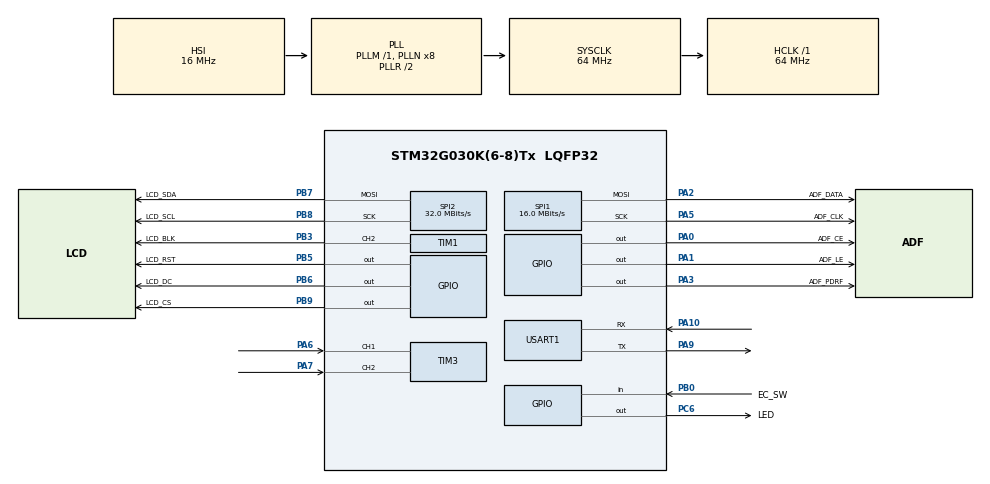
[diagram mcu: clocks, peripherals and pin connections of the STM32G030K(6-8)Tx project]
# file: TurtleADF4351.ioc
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Dma.Request0=SPI2_TX
Dma.Request1=SPI1_TX
Dma.SPI1_TX.1.Direction=DMA_MEMORY_TO_PERIPH
Dma.SPI1_TX.1.EventEnable=DISABLE
Dma.SPI1_TX.1.Instance=DMA1_Channel2
Dma.SPI1_TX.1.MemDataAlignment=DMA_MDATAALIGN_BYTE
Dma.SPI1_TX.1.MemInc=DMA_MINC_ENABLE
Dma.SPI1_TX.1.Mode=DMA_NORMAL
Dma.SPI1_TX.1.PeriphDataAlignment=DMA_PDATAALIGN_BYTE
Dma.SPI1_TX.1.PeriphInc=DMA_PINC_DISABLE
Dma.SPI1_TX.1.Polarity=HAL_DMAMUX_REQ_GEN_RISING
Dma.SPI1_TX.1.Priority=DMA_PRIORITY_LOW
Dma.SPI1_TX.1.RequestNumber=1
Dma.SPI1_TX.1.SignalID=NONE
Dma.SPI1_TX.1.SyncEnable=DISABLE
Dma.SPI1_TX.1.SyncPolarity=HAL_DMAMUX_SYNC_NO_EVENT
Dma.SPI1_TX.1.SyncRequestNumber=1
Dma.SPI1_TX.1.SyncSignalID=NONE
Dma.SPI2_TX.0.Direction=DMA_MEMORY_TO_PERIPH
Dma.SPI2_TX.0.EventEnable=DISABLE
Dma.SPI2_TX.0.Instance=DMA1_Channel1
Dma.SPI2_TX.0.MemDataAlignment=DMA_MDATAALIGN_BYTE
Dma.SPI2_TX.0.MemInc=DMA_MINC_ENABLE
Dma.SPI2_TX.0.Mode=DMA_NORMAL
Dma.SPI2_TX.0.PeriphDataAlignment=DMA_PDATAALIGN_BYTE
Dma.SPI2_TX.0.PeriphInc=DMA_PINC_DISABLE
Dma.SPI2_TX.0.Polarity=HAL_DMAMUX_REQ_GEN_RISING
Dma.SPI2_TX.0.Priority=DMA_PRIORITY_LOW
Dma.SPI2_TX.0.RequestNumber=1
Dma.SPI2_TX.0.SignalID=NONE
Dma.SPI2_TX.0.SyncEnable=DISABLE
Dma.SPI2_TX.0.SyncPolarity=HAL_DMAMUX_SYNC_NO_EVENT
Dma.SPI2_TX.0.SyncRequestNumber=1
Dma.SPI2_TX.0.SyncSignalID=NONE
Mcu.Family=STM32G0
Mcu.Name=STM32G030K(6-8)Tx
Mcu.Package=LQFP32
NVIC.DMA1_Channel1_IRQn=true\:0\:0\:false\:false\:true\:false\:true\:true
NVIC.DMA1_Channel2_3_IRQn=true\:0\:0\:false\:false\:true\:false\:true\:true
NVIC.TIM17_IRQn=true\:0\:0\:false\:false\:true\:true\:true\:true
PA0.GPIO_Label=ADF_CE
PA0.GPIO_Speed=GPIO_SPEED_FREQ_VERY_HIGH
PA0.PinState=GPIO_PIN_SET
PA0.Signal=GPIO_Output
PA1.GPIO_Label=ADF_LE
PA1.GPIO_Speed=GPIO_SPEED_FREQ_VERY_HIGH
PA1.PinState=GPIO_PIN_SET
PA1.Signal=GPIO_Output
PA10.Mode=Asynchronous
PA10.Signal=USART1_RX
PA13.Mode=Serial_Wire
PA13.Signal=SYS_SWDIO
PA14-BOOT0.Mode=Serial_Wire
PA14-BOOT0.Signal=SYS_SWCLK
PA2.GPIO_Label=ADF_DATA
PA2.GPIO_Speed=GPIO_SPEED_FREQ_VERY_HIGH
PA2.Mode=TX_Only_Simplex_Unidirect_Master
PA2.Signal=SPI1_MOSI
PA3.GPIO_Label=ADF_PDRF
PA3.GPIO_Speed=GPIO_SPEED_FREQ_VERY_HIGH
PA3.Signal=GPIO_Output
PA5.GPIO_Label=ADF_CLK
PA5.GPIO_Speed=GPIO_SPEED_FREQ_VERY_HIGH
PA5.Mode=TX_Only_Simplex_Unidirect_Master
PA5.Signal=SPI1_SCK
PA6.Signal=S_TIM3_CH1
PA7.Signal=S_TIM3_CH2
PA9.Mode=Asynchronous
PA9.Signal=USART1_TX
PB0.GPIO_Label=EC_SW
PB0.Signal=GPIO_Input
PB3.GPIO_Label=LCD_BLK
PB3.GPIO_Speed=GPIO_SPEED_FREQ_VERY_HIGH
PB3.Signal=S_TIM1_CH2
PB5.GPIO_Label=LCD_RST
PB5.Signal=GPIO_Output
PB6.GPIO_Label=LCD_DC
PB6.GPIO_Speed=GPIO_SPEED_FREQ_VERY_HIGH
PB6.PinState=GPIO_PIN_RESET
PB6.Signal=GPIO_Output
PB7.GPIO_Label=LCD_SDA
PB7.GPIO_Speed=GPIO_SPEED_FREQ_VERY_HIGH
PB7.Mode=TX_Only_Simplex_Unidirect_Master
PB7.Signal=SPI2_MOSI
PB8.GPIO_Label=LCD_SCL
PB8.GPIO_Speed=GPIO_SPEED_FREQ_VERY_HIGH
PB8.Mode=TX_Only_Simplex_Unidirect_Master
PB8.Signal=SPI2_SCK
PB9.GPIO_Label=LCD_CS
PB9.GPIO_Speed=GPIO_SPEED_FREQ_VERY_HIGH
PB9.PinState=GPIO_PIN_SET
PB9.Signal=GPIO_Output
PC6.GPIO_Label=LED
PC6.GPIO_PuPd=GPIO_PULLUP
PC6.GPIO_Speed=GPIO_SPEED_FREQ_MEDIUM
PC6.PinState=GPIO_PIN_SET
PC6.Signal=GPIO_Output
ProjectManager.HeapSize=0x200
ProjectManager.StackSize=0x400
ProjectManager.TargetToolchain=CMake
RCC.ADCFreq_Value=64000000
RCC.AHBFreq_Value=64000000
RCC.CortexFreq_Value=64000000
RCC.EXTERNAL_CLOCK_VALUE=12288000
RCC.HCLKFreq_Value=64000000
RCC.HSE_VALUE=8000000
RCC.HSI_VALUE=16000000
RCC.LSE_VALUE=32768
RCC.SYSCLKFreq_VALUE=64000000
RCC.SYSCLKSource=RCC_SYSCLKSOURCE_PLLCLK
RCC.VCOOutputFreq_Value=128000000
SH.S_TIM1_CH2.0=TIM1_CH2,PWM Generation2 CH2
SH.S_TIM3_CH1.0=TIM3_CH1,Encoder_Interface
SH.S_TIM3_CH2.0=TIM3_CH2,Encoder_Interface
SPI1.BaudRatePrescaler=SPI_BAUDRATEPRESCALER_4
SPI1.CalculateBaudRate=16.0 MBits/s
SPI1.DataSize=SPI_DATASIZE_8BIT
SPI1.Direction=SPI_DIRECTION_2LINES
SPI1.Mode=SPI_MODE_MASTER
SPI1.VirtualType=VM_MASTER
SPI2.BaudRatePrescaler=SPI_BAUDRATEPRESCALER_2
SPI2.CalculateBaudRate=32.0 MBits/s
SPI2.Direction=SPI_DIRECTION_2LINES
SPI2.Mode=SPI_MODE_MASTER
SPI2.VirtualType=VM_MASTER
TIM1.Channel-PWM\ Generation2\ CH2=TIM_CHANNEL_2
TIM1.OCPolarity_2=TIM_OCPOLARITY_LOW
TIM1.Period=1000-1
TIM1.Prescaler=64-1
TIM1.Pulse-PWM\ Generation2\ CH2=500
TIM17.Period=4000-1
TIM17.Prescaler=64-1
USART1.VirtualMode-Asynchronous=VM_ASYNC
VP_TIM17_VS_ClockSourceINT.Mode=Enable_Timer
board=custom

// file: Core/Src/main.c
/* USER CODE BEGIN Header */
/**
  ******************************************************************************
  * @file           : main.c
  * @brief          : Main program body
  ******************************************************************************
  * @attention
  *
  * Copyright (c) 2025 STMicroelectronics.
  * All rights reserved.
  *
  * This software is licensed under terms that can be found in the LICENSE file
  * in the root directory of this software component.
  * If no LICENSE file comes with this software, it is provided AS-IS.
  *
  ******************************************************************************
  */
/* USER CODE END Header */
#include "main.h"
#include "dma.h"
#include "spi.h"
#include "stm32g0xx_hal_gpio.h"
#include "tim.h"
#include "usart.h"
#include "gpio.h"

/* USER CODE BEGIN Includes */
#include "./ec_button.h" // Adjusted path to locate the header file
#include "./lcd.h"
#include "./menu.h"
#include "./adf4351.h"
/* USER CODE END Includes */

/* USER CODE BEGIN PV */
char str[40]={0};
struct button_obj_t ecbt;
static uint8_t btn1_event_val=0,ecop_val[2]={0,0};

uint16_t ec_cnt = 0;
short ec_dcnt = 0;  //encoder cnt difference

/* USER CODE END PV */

void SystemClock_Config(void);

int main(void)
{

  /* MCU Configuration--------------------------------------------------------*/

  /* Reset of all peripherals, Initializes the Flash interface and the Systick. */

  HAL_Init();

  /* Configure the system clock */
  SystemClock_Config();

  /* Initialize all configured peripherals */
  MX_GPIO_Init();
  MX_DMA_Init();
  MX_SPI1_Init();
  MX_SPI2_Init();
  MX_TIM3_Init();
  MX_USART1_UART_Init();
  MX_TIM17_Init();
  MX_TIM1_Init();
  /* USER CODE BEGIN 2 */

  button_init(&ecbt, read_button_pin, 0, BUTTON_1, NULL, 0);
  button_start(&ecbt);
  HAL_TIM_Base_Start_IT(&htim17); // Start timer interrupt for button handling

  delay_init(64); // Initialize delay function with a 64MHz clock
  LCD_Init(); // Initialize the LCD
  LCD_Fill(0, 0, LCD_W, LCD_H, BLACK); // Fill the LCD with white color
  HAL_TIM_Encoder_Start(&htim3, TIM_CHANNEL_ALL); // Start the encoder timer
  //delay_us(10);
  ADF4351_Init(&myADF4351,&myADF4351_settings); // Initialize the ADF4351 PLL
  HAL_GPIO_WritePin(LED_GPIO_Port, LED_Pin, GPIO_PIN_RESET); // Turn on the LED
  Menu_Init();
  Show_table(0); // Show the main menu on the LCD
  // LCD_ShowString(24, 0, (uint8_t*)"ADF4351_PLL_Menu", GREEN, BLACK, 24, 0);
  // LCD_ShowString(0, 24, (uint8_t*)"1.", CYAN, BLACK, 24, 0);
  // LCD_ShowString(0, 48, (uint8_t*)"2.", CYAN, BLACK, 24, 0);
  // LCD_ShowString(0, 72, (uint8_t*)"3.", CYAN, BLACK, 24, 0);
  // LCD_ShowString(0, 96, (uint8_t*)"4.", CYAN, BLACK, 24, 0);
  // LCD_ShowString(0, 120, (uint8_t*)"Powered by Turtle@AutoC4M", CYAN, BLACK, 12, 0);
  /* USER CODE END 2 */

  /* Infinite loop */
  while (1)
  {

    /* USER CODE BEGIN 3 */
    /****************Get Encoder and button operation************************/
    if(btn1_event_val!=get_button_key_value(&ecbt)){
      //btn1_event_val = get_button_key_value(&ecbt);
      btn1_event_val = ecbt.key_value; // Get the key value from the button object
      switch(btn1_event_val){
        case NONE_PRESS_KV:
          ecop_val[0] = OP_NONE;
          //sprintf(str,"NONE_PRESS_KV\r\n");
          //HAL_UART_Transmit(&huart1, (uint8_t*)str, strlen(str), 1000);
          break;
        case SINGLE_CLICK_KV:
          ecop_val[0] = OP_ENTER;
          //sprintf(str,"SINGLE_CLICK_KV\r\n");
          //HAL_UART_Transmit(&huart1, (uint8_t*)str, strlen(str), 1000);

          break;
        case DOUBLE_CLICK_KV:
          ecop_val[0] = OP_EXIT;
          //sprintf(str,"DOUBLE_CLICK_KV\r\n");
          //HAL_UART_Transmit(&huart1, (uint8_t*)str, strlen(str), 1000);

          break;
        default:
          break;
      }
    }
    if((ecop_val[0]==OP_NONE)&&(ec_cnt!=__HAL_TIM_GET_COUNTER(&htim3))){
      ec_dcnt = __HAL_TIM_GET_COUNTER(&htim3) - ec_cnt; // Get the encoder count difference
      ec_cnt = __HAL_TIM_GET_COUNTER(&htim3); // Get the current encoder count value
      if(abs(ec_dcnt)>=1){
        if(ec_dcnt>0){
          ecop_val[0] = OP_UP; // Encoder turned up
        }else{
          ecop_val[0] = OP_DOWN; // Encoder turned down
        }
      }else{
        ecop_val[0] = OP_NONE; // No encoder movement
      }
    }

    /*******************Encoder and button op got********************/
    if(ecop_val[1]!=ecop_val[0]){ // Check if the operation value has changed
      Menu_Update(ecop_val[0]); // Update the menu based on the operation
      //LCD_ShowIntNum(10, 30, ecop_val[0], 6, BLACK, WHITE, 16);
    }

  ecop_val[1] = ecop_val[0]; // Store the operation value for the next iteration
  ecop_val[0] = OP_NONE; // Reset the operation value

  }
  /* USER CODE END 3 */
}

void SystemClock_Config(void)
{
  RCC_OscInitTypeDef RCC_OscInitStruct = {0};
  RCC_ClkInitTypeDef RCC_ClkInitStruct = {0};

  /** Configure the main internal regulator output voltage
  */
  HAL_PWREx_ControlVoltageScaling(PWR_REGULATOR_VOLTAGE_SCALE1);

  /** Initializes the RCC Oscillators according to the specified parameters
  * in the RCC_OscInitTypeDef structure.
  */
  RCC_OscInitStruct.OscillatorType = RCC_OSCILLATORTYPE_HSI;
  RCC_OscInitStruct.HSIState = RCC_HSI_ON;
  RCC_OscInitStruct.HSIDiv = RCC_HSI_DIV1;
  RCC_OscInitStruct.HSICalibrationValue = RCC_HSICALIBRATION_DEFAULT;
  RCC_OscInitStruct.PLL.PLLState = RCC_PLL_ON;
  RCC_OscInitStruct.PLL.PLLSource = RCC_PLLSOURCE_HSI;
  RCC_OscInitStruct.PLL.PLLM = RCC_PLLM_DIV1;
  RCC_OscInitStruct.PLL.PLLN = 8;
  RCC_OscInitStruct.PLL.PLLP = RCC_PLLP_DIV2;
  RCC_OscInitStruct.PLL.PLLR = RCC_PLLR_DIV2;
  if (HAL_RCC_OscConfig(&RCC_OscInitStruct) != HAL_OK)
  {
    Error_Handler();
  }

  /** Initializes the CPU, AHB and APB buses clocks
  */
  RCC_ClkInitStruct.ClockType = RCC_CLOCKTYPE_HCLK|RCC_CLOCKTYPE_SYSCLK
                              |RCC_CLOCKTYPE_PCLK1;
  RCC_ClkInitStruct.SYSCLKSource = RCC_SYSCLKSOURCE_PLLCLK;
  RCC_ClkInitStruct.AHBCLKDivider = RCC_SYSCLK_DIV1;
  RCC_ClkInitStruct.APB1CLKDivider = RCC_HCLK_DIV1;

  if (HAL_RCC_ClockConfig(&RCC_ClkInitStruct, FLASH_LATENCY_2) != HAL_OK)
  {
    Error_Handler();
  }
}

/* USER CODE BEGIN 4 */
/*********** Implement timer interrupt callback **************/
/**
  * @brief  Period elapsed callback in non-blocking mode
  * @param  htim TIM handle
  * @retval None
  */
  void HAL_TIM_PeriodElapsedCallback(TIM_HandleTypeDef *htim)
  {
    /* Prevent unused argument(s) compilation warning */
    UNUSED(htim);

    if(htim==&htim17){
       button_ticks();//embbed button  button state update
       //ec_dcnt = __HAL_TIM_GetCounter(&htim3) - ec_cnt;  //get encoder val plus
       //ec_cnt = __HAL_TIM_GET_COUNTER(&htim3); // get encoder val
    }
  }
/* USER CODE END 4 */

void Error_Handler(void)
{
  __disable_irq();
  while (1)
  {
  }
}
